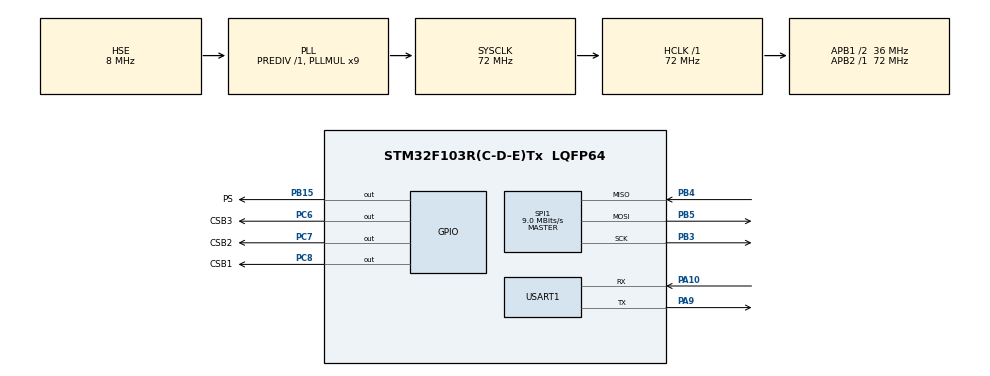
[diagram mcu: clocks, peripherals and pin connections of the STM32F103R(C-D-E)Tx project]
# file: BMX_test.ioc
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Mcu.Family=STM32F1
Mcu.Name=STM32F103R(C-D-E)Tx
Mcu.Package=LQFP64
NVIC.PriorityGroup=NVIC_PRIORITYGROUP_4
NVIC.TIM1_UP_IRQn=true\:1\:0\:true\:false\:true\:true\:true
NVIC.USART1_IRQn=true\:0\:0\:false\:false\:true\:true\:true
PA10.Mode=Asynchronous
PA10.Signal=USART1_RX
PA13.Mode=Serial_Wire
PA13.Signal=SYS_JTMS-SWDIO
PA14.Mode=Serial_Wire
PA14.Signal=SYS_JTCK-SWCLK
PA9.Mode=Asynchronous
PA9.Signal=USART1_TX
PB15.GPIO_Label=PS
PB15.Signal=GPIO_Output
PB3.Mode=Full_Duplex_Master
PB3.Signal=SPI1_SCK
PB4.Mode=Full_Duplex_Master
PB4.Signal=SPI1_MISO
PB5.Mode=Full_Duplex_Master
PB5.Signal=SPI1_MOSI
PC14-OSC32_IN.Mode=LSE-External-Oscillator
PC14-OSC32_IN.Signal=RCC_OSC32_IN
PC15-OSC32_OUT.Mode=LSE-External-Oscillator
PC15-OSC32_OUT.Signal=RCC_OSC32_OUT
PC6.GPIO_Label=CSB3
PC6.PinState=GPIO_PIN_SET
PC6.Signal=GPIO_Output
PC7.GPIO_Label=CSB2
PC7.PinState=GPIO_PIN_SET
PC7.Signal=GPIO_Output
PC8.GPIO_Label=CSB1
PC8.PinState=GPIO_PIN_SET
PC8.Signal=GPIO_Output
PD0-OSC_IN.Mode=HSE-External-Clock-Source
PD0-OSC_IN.Signal=RCC_OSC_IN
PD1-OSC_OUT.Mode=HSE-External-Clock-Source
PD1-OSC_OUT.Signal=RCC_OSC_OUT
ProjectManager.HeapSize=0x200
ProjectManager.StackSize=0x400
ProjectManager.TargetToolchain=MDK-ARM V5.27
RCC.AHBFreq_Value=72000000
RCC.APB1CLKDivider=RCC_HCLK_DIV2
RCC.APB1Freq_Value=36000000
RCC.APB1TimFreq_Value=72000000
RCC.APB2Freq_Value=72000000
RCC.APB2TimFreq_Value=72000000
RCC.HCLKFreq_Value=72000000
RCC.PLLMUL=RCC_PLL_MUL9
RCC.PLLSourceVirtual=RCC_PLLSOURCE_HSE
RCC.SYSCLKFreq_VALUE=72000000
RCC.SYSCLKSource=RCC_SYSCLKSOURCE_PLLCLK
RCC.USBFreq_Value=72000000
SPI1.BaudRatePrescaler=SPI_BAUDRATEPRESCALER_8
SPI1.CalculateBaudRate=9.0 MBits/s
SPI1.Direction=SPI_DIRECTION_2LINES
SPI1.Mode=SPI_MODE_MASTER
SPI1.VirtualType=VM_MASTER
TIM1.AutoReloadPreload=TIM_AUTORELOAD_PRELOAD_ENABLE
TIM1.Period=999
TIM1.Prescaler=719
TIM2.AutoReloadPreload=TIM_AUTORELOAD_PRELOAD_ENABLE
TIM2.Period=999
TIM2.Prescaler=719
USART1.VirtualMode=VM_ASYNC
VP_TIM1_VS_ClockSourceINT.Mode=Internal
VP_TIM2_VS_ClockSourceINT.Mode=Internal
board=custom

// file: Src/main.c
/* USER CODE BEGIN Header */
/**
  ******************************************************************************
  * @file           : main.c
  * @brief          : Main program body
  ******************************************************************************
  * @attention
  *
  * <h2><center>&copy; Copyright (c) 2021 STMicroelectronics.
  * All rights reserved.</center></h2>
  *
  * This software component is licensed by ST under BSD 3-Clause license,
  * the "License"; You may not use this file except in compliance with the
  * License. You may obtain a copy of the License at:
  *                        opensource.org/licenses/BSD-3-Clause
  *
  ******************************************************************************
  */
/* USER CODE END Header */

#include "main.h"
#include "spi.h"
#include "tim.h"
#include "usart.h"
#include "gpio.h"

/* USER CODE BEGIN Includes */
#include "SEGGER_RTT.h"
#include "SEGGER_RTT_Conf.h"
#include <stdio.h>
#include "bmx055.h"
#include "pid.h"
#include "Attitude_Estimation.h"
/* USER CODE END Includes */

/* USER CODE BEGIN PV */
struct pid pid;
float Speed;
float compare = 0.0;
/* USER CODE END PV */

void SystemClock_Config(void);

int main(void)
{
  /* USER CODE BEGIN 1 */
  // struct bma2x2_accel_data acc_data_xyz;
  // struct bmm050_mag_data_s16_t mag_data;
  // struct bmg160_data_t gyro_data_xyzi;
  // struct output_data output_data;
  // int loop = 0;
  /* USER CODE END 1 */

  /* MCU Configuration--------------------------------------------------------*/

  /* Reset of all peripherals, Initializes the Flash interface and the Systick. */
  HAL_Init();

  /* USER CODE BEGIN Init */
  HAL_SPI_MspInit(&hspi1);
  /* USER CODE END Init */

  /* Configure the system clock */
  SystemClock_Config();

  /* Initialize all configured peripherals */
  MX_GPIO_Init();
  MX_SPI1_Init();
  MX_USART1_UART_Init();
  MX_TIM2_Init();
  MX_TIM1_Init();
  /* USER CODE BEGIN 2 */
  bmx_055_init();
  PID_init(&pid);
  HAL_TIM_Base_Start_IT(&htim1);
  /* USER CODE END 2 */

  /* Infinite loop */
  while (1)
  {

  }
}

void SystemClock_Config(void)
{
  RCC_OscInitTypeDef RCC_OscInitStruct = {0};
  RCC_ClkInitTypeDef RCC_ClkInitStruct = {0};

  /** Initializes the CPU, AHB and APB busses clocks
  */
  RCC_OscInitStruct.OscillatorType = RCC_OSCILLATORTYPE_HSE;
  RCC_OscInitStruct.HSEState = RCC_HSE_BYPASS;
  RCC_OscInitStruct.HSEPredivValue = RCC_HSE_PREDIV_DIV1;
  RCC_OscInitStruct.HSIState = RCC_HSI_ON;
  RCC_OscInitStruct.PLL.PLLState = RCC_PLL_ON;
  RCC_OscInitStruct.PLL.PLLSource = RCC_PLLSOURCE_HSE;
  RCC_OscInitStruct.PLL.PLLMUL = RCC_PLL_MUL9;
  if (HAL_RCC_OscConfig(&RCC_OscInitStruct) != HAL_OK)
  {
    Error_Handler();
  }
  /** Initializes the CPU, AHB and APB busses clocks
  */
  RCC_ClkInitStruct.ClockType = RCC_CLOCKTYPE_HCLK|RCC_CLOCKTYPE_SYSCLK
                              |RCC_CLOCKTYPE_PCLK1|RCC_CLOCKTYPE_PCLK2;
  RCC_ClkInitStruct.SYSCLKSource = RCC_SYSCLKSOURCE_PLLCLK;
  RCC_ClkInitStruct.AHBCLKDivider = RCC_SYSCLK_DIV1;
  RCC_ClkInitStruct.APB1CLKDivider = RCC_HCLK_DIV2;
  RCC_ClkInitStruct.APB2CLKDivider = RCC_HCLK_DIV1;

  if (HAL_RCC_ClockConfig(&RCC_ClkInitStruct, FLASH_LATENCY_2) != HAL_OK)
  {
    Error_Handler();
  }
}

/* USER CODE BEGIN 4 */
void HAL_TIM_PeriodElapsedCallback(TIM_HandleTypeDef *htim)
{
  if(htim -> Instance == htim1.Instance)
  {
    struct output_data output_data;

    output_data = Att_Est();
    Speed = PID_realize(output_data.phi_out,&pid);
    compare = Speed_r2c(Speed);

    if(compare > 1100)//�޷�
      compare = 1100;
    if(compare < 100)
      compare = 100;
    SEGGER_RTT_printf(0,"phi = %f, theta = %f\n",output_data.phi_out,output_data.theta_out);
  }
}

/* USER CODE END 4 */

void Error_Handler(void)
{
}

/************************ (C) COPYRIGHT STMicroelectronics *****END OF FILE****/
